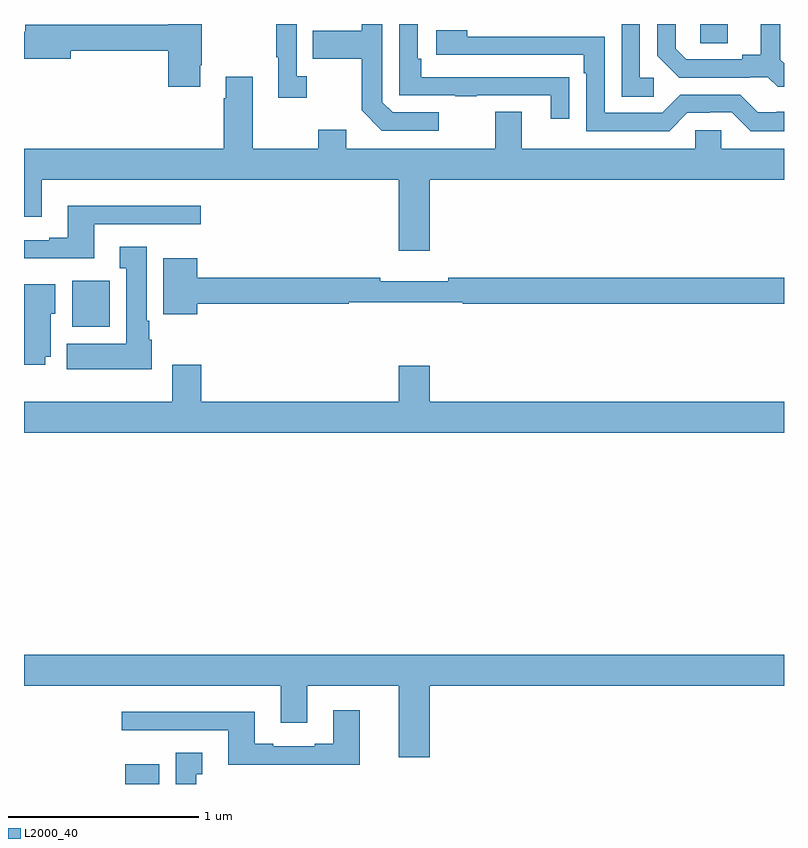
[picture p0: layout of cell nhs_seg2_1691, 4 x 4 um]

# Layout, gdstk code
import gdstk
lib = gdstk.Library(unit=1e-6, precision=1e-09)
def R(c, l, rs):  # rectangles x0, y0, x1, y1
    for r in rs: c.add(gdstk.rectangle(r[:2], r[2:], *l))
def P(c, l, *ps):  # polygons
    for p in ps: c.add(gdstk.Polygon(p, *l))
L2000_40 = (2000, 40)

nhs_seg2_1691 = lib.new_cell('nhs_seg2_1691')
R(nhs_seg2_1691, L2000_40, [(199.532,633.8,199.711,633.904), (199.253,636.206,199.45,636.448), (202.56,637.699,202.705,637.8)])
P(nhs_seg2_1691, L2000_40, [(202.315,637.518),(202.242,637.518),(202.242,637.8),(202.146,637.8),(202.146,637.417),(202.315,637.417)],
  [(201.184,637.335),(200.94,637.335),(200.886,637.389),(200.886,637.8),(200.778,637.8),(200.778,637.765),(200.521,637.765),(200.521,637.618),(200.778,637.618),(200.778,637.345),(200.883,637.239),(201.184,637.239)],
  [(199.927,637.582),(199.935,637.582),(199.935,637.8),(199.76,637.8),(199.76,637.796),(199.007,637.796),(199.007,637.76),(199,637.76),(199,637.618),(199.246,637.618),(199.246,637.66),(199.76,637.66),(199.76,637.47),(199.927,637.47)],
  [(201.869,637.52),(201.767,637.52),(201.767,637.521),(201.092,637.521),(201.092,637.618),(201.072,637.618),(201.072,637.8),(200.976,637.8),(200.976,637.425),(201.271,637.425),(201.271,637.42),(201.383,637.42),(201.383,637.425),(201.773,637.425),(201.773,637.302),(201.869,637.302)],
  [(200.488,637.526),(200.436,637.526),(200.436,637.8),(200.328,637.8),(200.328,637.625),(200.339,637.625),(200.339,637.413),(200.488,637.413)],
  [(203,637.594),(202.981,637.613),(202.981,637.8),(202.877,637.8),(202.877,637.637),(202.781,637.637),(202.781,637.614),(202.486,637.614),(202.429,637.671),(202.429,637.8),(202.332,637.8),(202.332,637.634),(202.448,637.518),(202.82,637.518),(202.82,637.521),(202.914,637.521),(202.966,637.469),(203,637.469)],
  [(203,637.339),(202.963,637.339),(202.963,637.335),(202.863,637.335),(202.77,637.428),(202.455,637.428),(202.359,637.332),(202.056,637.332),(202.056,637.734),(201.332,637.734),(201.332,637.768),(201.171,637.768),(201.171,637.638),(201.947,637.638),(201.947,637.541),(201.96,637.541),(201.96,637.236),(202.395,637.236),(202.491,637.332),(202.61,637.332),(202.61,637.335),(202.725,637.335),(202.825,637.235),(203,637.235)],
  [(201.136,636.98),(203,636.98),(203,637.144),(202.671,637.144),(202.671,637.242),(202.533,637.242),(202.533,637.144),(201.619,637.144),(201.619,637.339),(201.479,637.339),(201.479,637.144),(200.695,637.144),(200.695,637.243),(200.548,637.243),(200.548,637.144),(200.203,637.144),(200.203,637.522),(200.063,637.522),(200.063,637.409),(200.051,637.409),(200.051,637.144),(199,637.144),(199,636.786),(199.093,636.786),(199.093,636.98),(200.972,636.98),(200.972,636.606),(201.136,636.606)],
  [(199.369,636.747),(199.93,636.747),(199.93,636.844),(199.229,636.844),(199.229,636.676),(199.133,636.676),(199.133,636.663),(199,636.663),(199,636.566),(199.369,636.566)],
  [(199.672,636.138),(199.66,636.138),(199.66,636.238),(199.645,636.238),(199.645,636.628),(199.505,636.628),(199.505,636.515),(199.538,636.515),(199.538,636.118),(199.226,636.118),(199.226,635.984),(199.672,635.984)],
  [(199.912,636.328),(200.708,636.328),(200.708,636.336),(201.308,636.336),(201.308,636.328),(203,636.328),(203,636.464),(201.232,636.464),(201.232,636.445),(200.876,636.445),(200.876,636.464),(199.912,636.464),(199.912,636.568),(199.733,636.568),(199.733,636.272),(199.912,636.272)],
  [(199.111,636.05),(199.141,636.05),(199.141,636.276),(199.165,636.276),(199.165,636.43),(199.001,636.43),(199.001,636.124),(199,636.124),(199,636.006),(199.111,636.006)],
  [(203,635.812),(201.136,635.812),(201.136,636.001),(200.972,636.001),(200.972,635.812),(199.934,635.812),(199.934,636.007),(199.781,636.007),(199.781,635.812),(199,635.812),(199,635.648),(203,635.648)],
  [(201.136,634.316),(203,634.316),(203,634.48),(199,634.48),(199,634.316),(200.351,634.316),(200.351,634.122),(200.491,634.122),(200.491,634.316),(200.972,634.316),(200.972,633.942),(201.136,633.942)],
  [(200.767,634.189),(200.627,634.189),(200.627,634.012),(200.531,634.012),(200.531,633.999),(200.311,633.999),(200.311,634.012),(200.215,634.012),(200.215,634.18),(199.515,634.18),(199.515,634.083),(200.075,634.083),(200.075,633.902),(200.767,633.902)],
  [(199.906,633.851),(199.939,633.851),(199.939,633.964),(199.799,633.964),(199.799,633.8),(199.906,633.8)])

lib.write_gds('nhs_seg2_1691.gds')
